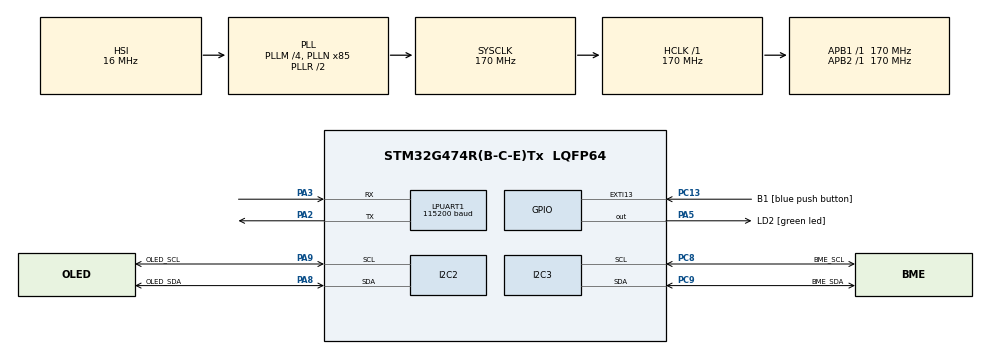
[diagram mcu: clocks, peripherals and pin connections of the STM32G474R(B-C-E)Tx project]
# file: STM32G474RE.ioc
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I2C2.Timing=0x40B285C2
I2C3.Timing=0x40B285C2
LPUART1.BaudRate=115200
LPUART1.Parity=UART_PARITY_ODD
Mcu.Family=STM32G4
Mcu.Name=STM32G474R(B-C-E)Tx
Mcu.Package=LQFP64
NVIC.EXTI15_10_IRQn=true\:0\:0\:false\:false\:true\:true\:true\:true
NVIC.PriorityGroup=NVIC_PRIORITYGROUP_4
PA13.GPIO_Label=T_SWDIO
PA13.Mode=Serial_Wire
PA13.Signal=SYS_JTMS-SWDIO
PA14.GPIO_Label=T_SWCLK
PA14.Mode=Serial_Wire
PA14.Signal=SYS_JTCK-SWCLK
PA2.GPIO_PuPd=GPIO_PULLUP
PA2.GPIO_Speed=GPIO_SPEED_FREQ_LOW
PA2.Mode=Asynchronous
PA2.Signal=LPUART1_TX
PA3.GPIO_PuPd=GPIO_PULLUP
PA3.GPIO_Speed=GPIO_SPEED_FREQ_LOW
PA3.Mode=Asynchronous
PA3.Signal=LPUART1_RX
PA5.GPIO_Label=LD2 [green led]
PA5.Signal=GPIO_Output
PA8.GPIO_Label=OLED_SDA
PA8.GPIO_Pu=GPIO_PULLUP
PA8.GPIO_Speed=GPIO_SPEED_FREQ_VERY_HIGH
PA8.Mode=I2C
PA8.Signal=I2C2_SDA
PA9.GPIO_Label=OLED_SCL
PA9.GPIO_Pu=GPIO_PULLUP
PA9.GPIO_Speed=GPIO_SPEED_FREQ_VERY_HIGH
PA9.Mode=I2C
PA9.Signal=I2C2_SCL
PB3.Signal=SYS_JTDO-SWO
PC13.GPIO_Label=B1 [blue push button]
PC13.Signal=GPXTI13
PC14-OSC32_IN.Mode=LSE-External-Oscillator
PC14-OSC32_IN.Signal=RCC_OSC32_IN
PC15-OSC32_OUT.Mode=LSE-External-Oscillator
PC15-OSC32_OUT.Signal=RCC_OSC32_OUT
PC8.GPIO_Label=BME_SCL
PC8.GPIO_Pu=GPIO_PULLUP
PC8.GPIO_Speed=GPIO_SPEED_FREQ_VERY_HIGH
PC8.Mode=I2C
PC8.Signal=I2C3_SCL
PC9.GPIO_Label=BME_SDA
PC9.GPIO_Pu=GPIO_PULLUP
PC9.GPIO_Speed=GPIO_SPEED_FREQ_VERY_HIGH
PC9.Mode=I2C
PC9.Signal=I2C3_SDA
PF0-OSC_IN.Mode=HSE-External-Oscillator
PF0-OSC_IN.Signal=RCC_OSC_IN
PF1-OSC_OUT.Mode=HSE-External-Oscillator
PF1-OSC_OUT.Signal=RCC_OSC_OUT
ProjectManager.HeapSize=0x200
ProjectManager.StackSize=0x400
ProjectManager.TargetToolchain=MDK-ARM V5.32
RCC.ADC12Freq_Value=170000000
RCC.ADC345Freq_Value=170000000
RCC.AHBFreq_Value=170000000
RCC.APB1Freq_Value=170000000
RCC.APB1TimFreq_Value=170000000
RCC.APB2Freq_Value=170000000
RCC.APB2TimFreq_Value=170000000
RCC.CortexFreq_Value=170000000
RCC.EXTERNAL_CLOCK_VALUE=12288000
RCC.HCLKFreq_Value=170000000
RCC.HSE_VALUE=24000000
RCC.HSI48_VALUE=48000000
RCC.HSI_VALUE=16000000
RCC.PLLM=RCC_PLLM_DIV4
RCC.PLLN=85
RCC.RTCClockSelection=RCC_RTCCLKSOURCE_LSE
RCC.SYSCLKFreq_VALUE=170000000
RCC.SYSCLKSource=RCC_SYSCLKSOURCE_PLLCLK
RCC.USBFreq_Value=170000000
RCC.VCOOutputFreq_Value=340000000
VP_SYS_VS_DBSignals.Mode=DisableDeadBatterySignals
board=NUCLEO-G474RE

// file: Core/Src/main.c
/* USER CODE BEGIN Header */
/**
  ******************************************************************************
  * @file           : main.c
  * @brief          : Main program body
  ******************************************************************************
  * @attention
  *
  * Copyright (c) 2024 STMicroelectronics.
  * All rights reserved.
  *
  * This software is licensed under terms that can be found in the LICENSE file
  * in the root directory of this software component.
  * If no LICENSE file comes with this software, it is provided AS-IS.
  *
  ******************************************************************************
  */
/* USER CODE END Header */
#include "main.h"
#include "i2c.h"
#include "usart.h"
#include "gpio.h"

/* USER CODE BEGIN Includes */
#include "bme280_bsp.h"
#include "OLED_U8g2.h"
/* USER CODE END Includes */

void SystemClock_Config(void);
/* USER CODE BEGIN PFP */
#if defined(__ICCARM__)
/* New definition from EWARM V9, compatible with EWARM8 */
int iar_fputc(int ch);
#define PUTCHAR_PROTOTYPE int iar_fputc(int ch)
#elif defined ( __CC_ARM ) || defined(__ARMCC_VERSION)
/* ARM Compiler 5/6*/
#define PUTCHAR_PROTOTYPE int fputc(int ch, FILE *f)
#elif defined(__GNUC__)
#define PUTCHAR_PROTOTYPE int __io_putchar(int ch)
#endif /* __ICCARM__ */
/* USER CODE END PFP */

int main(void)
{

  /* MCU Configuration--------------------------------------------------------*/

  /* Reset of all peripherals, Initializes the Flash interface and the Systick. */
  HAL_Init();

  /* Configure the system clock */
  SystemClock_Config();

  /* Initialize all configured peripherals */
  MX_GPIO_Init();
  MX_I2C2_Init();
  MX_I2C3_Init();
  MX_LPUART1_UART_Init();
  /* USER CODE BEGIN 2 */
  u8g2_t u8g2;
  u8g2Init(&u8g2);

  struct bme280_dev dev;
  u8g2_ClearBuffer(&u8g2);
  u8g2_SendBuffer(&u8g2);

  int8_t rslt = BME280_OK;
  dev.dev_id = BME280_I2C_ADDR_PRIM;
  dev.intf = BME280_I2C_INTF;
  dev.read = user_i2c_read;
  dev.write = user_i2c_write;
  dev.delay_ms = user_delay_ms;

  rslt = bme280_init(&dev);
  printf("The init result is:%d\r\n",rslt);

  // do a selftest
  rslt = bme280_crc_selftest(&dev);
  if(rslt == 0)
  {
    printf("BME280 self test pass\r\n");
  }
  /* USER CODE END 2 */

  /* Infinite loop */
  while (1)
  {

    /* USER CODE BEGIN 3 */
      // LD2_ON;
      // HAL_Delay(1000);
      // LD2_OFF;
      // HAL_Delay(1000);
      // printf("hello");
      // u8g2_SetFont(&u8g2,u8g2_font_ncenB14_tr);
      // u8g2_DrawStr(&u8g2,0,15, "Hello");
      // u8g2_DrawCircle(&u8g2,64,32,30,U8G2_DRAW_ALL);
      // u8g2_SendBuffer(&u8g2);
      oled_sensor_data_normal_mode(&dev, &u8g2);
      // u8g2_SendBuffer(&u8g2);
  }
  /* USER CODE END 3 */
}

void SystemClock_Config(void)
{
  RCC_OscInitTypeDef RCC_OscInitStruct = {0};
  RCC_ClkInitTypeDef RCC_ClkInitStruct = {0};

  /** Configure the main internal regulator output voltage
  */
  HAL_PWREx_ControlVoltageScaling(PWR_REGULATOR_VOLTAGE_SCALE1_BOOST);

  /** Initializes the RCC Oscillators according to the specified parameters
  * in the RCC_OscInitTypeDef structure.
  */
  RCC_OscInitStruct.OscillatorType = RCC_OSCILLATORTYPE_HSI;
  RCC_OscInitStruct.HSIState = RCC_HSI_ON;
  RCC_OscInitStruct.HSICalibrationValue = RCC_HSICALIBRATION_DEFAULT;
  RCC_OscInitStruct.PLL.PLLState = RCC_PLL_ON;
  RCC_OscInitStruct.PLL.PLLSource = RCC_PLLSOURCE_HSI;
  RCC_OscInitStruct.PLL.PLLM = RCC_PLLM_DIV4;
  RCC_OscInitStruct.PLL.PLLN = 85;
  RCC_OscInitStruct.PLL.PLLP = RCC_PLLP_DIV2;
  RCC_OscInitStruct.PLL.PLLQ = RCC_PLLQ_DIV2;
  RCC_OscInitStruct.PLL.PLLR = RCC_PLLR_DIV2;
  if (HAL_RCC_OscConfig(&RCC_OscInitStruct) != HAL_OK)
  {
    Error_Handler();
  }

  /** Initializes the CPU, AHB and APB buses clocks
  */
  RCC_ClkInitStruct.ClockType = RCC_CLOCKTYPE_HCLK|RCC_CLOCKTYPE_SYSCLK
                              |RCC_CLOCKTYPE_PCLK1|RCC_CLOCKTYPE_PCLK2;
  RCC_ClkInitStruct.SYSCLKSource = RCC_SYSCLKSOURCE_PLLCLK;
  RCC_ClkInitStruct.AHBCLKDivider = RCC_SYSCLK_DIV1;
  RCC_ClkInitStruct.APB1CLKDivider = RCC_HCLK_DIV1;
  RCC_ClkInitStruct.APB2CLKDivider = RCC_HCLK_DIV1;

  if (HAL_RCC_ClockConfig(&RCC_ClkInitStruct, FLASH_LATENCY_4) != HAL_OK)
  {
    Error_Handler();
  }
}

/* USER CODE BEGIN 4 */
/**
  * @brief  Retargets the C library __write function to the IAR function iar_fputc.
  * @param  file: file descriptor.
  * @param  ptr: pointer to the buffer where the data is stored.
  * @param  len: length of the data to write in bytes.
  * @retval length of the written data in bytes.
  */
#if defined(__ICCARM__)
size_t __write(int file, unsigned char const *ptr, size_t len)
{
  size_t idx;
  unsigned char const *pdata = ptr;

  for (idx = 0; idx < len; idx++)
  {
    iar_fputc((int)*pdata);
    pdata++;
  }
  return len;
}
#endif /* __ICCARM__ */

/**
  * @brief  Retargets the C library printf function to the USART.
  */
PUTCHAR_PROTOTYPE
{
  /* Place your implementation of fputc here */
  /* e.g. write a character to the LPUART1 and Loop until the end of transmission */
  HAL_UART_Transmit(&hlpuart1, (uint8_t *)&ch, 1, 0xFFFF);

  return ch;
}

/* USER CODE END 4 */

void Error_Handler(void)
{
  __disable_irq();
  while (1)
  {
  }
}
